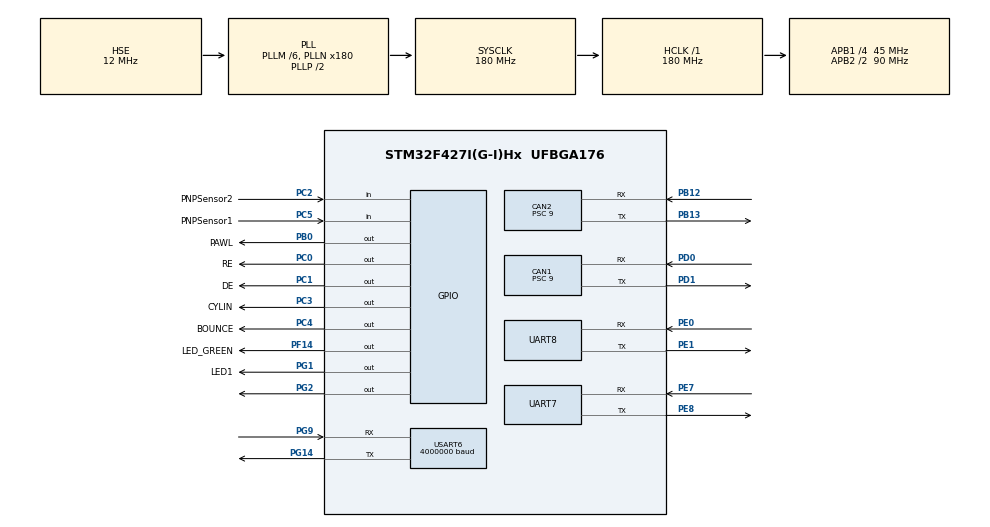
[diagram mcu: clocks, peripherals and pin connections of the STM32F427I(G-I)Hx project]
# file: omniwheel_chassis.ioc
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CAN1.ABOM=DISABLE
CAN1.BS1=CAN_BS1_3TQ
CAN1.BS2=CAN_BS2_1TQ
CAN1.CalculateBaudRate=1000000
CAN1.CalculateTimeBit=1000
CAN1.CalculateTimeQuantum=200.0
CAN1.Prescaler=9
CAN2.BS1=CAN_BS1_3TQ
CAN2.CalculateBaudRate=1000000
CAN2.CalculateTimeBit=1000
CAN2.CalculateTimeQuantum=200.0
CAN2.Prescaler=9
Dma.Request0=USART6_RX
Dma.USART6_RX.0.Direction=DMA_PERIPH_TO_MEMORY
Dma.USART6_RX.0.FIFOMode=DMA_FIFOMODE_DISABLE
Dma.USART6_RX.0.Instance=DMA2_Stream1
Dma.USART6_RX.0.MemDataAlignment=DMA_MDATAALIGN_BYTE
Dma.USART6_RX.0.MemInc=DMA_MINC_ENABLE
Dma.USART6_RX.0.Mode=DMA_NORMAL
Dma.USART6_RX.0.PeriphDataAlignment=DMA_PDATAALIGN_BYTE
Dma.USART6_RX.0.PeriphInc=DMA_PINC_DISABLE
Dma.USART6_RX.0.Priority=DMA_PRIORITY_HIGH
FREERTOS.Tasks01=defaultTask,8,1024,StartDefaultTask,Default,NULL,Dynamic,NULL,NULL
Mcu.Family=STM32F4
Mcu.Name=STM32F427I(G-I)Hx
Mcu.Package=UFBGA176
NVIC.CAN1_RX0_IRQn=true\:5\:0\:false\:false\:true\:true\:true\:true\:true
NVIC.CAN2_RX0_IRQn=true\:5\:0\:false\:false\:true\:true\:true\:true\:true
NVIC.CAN2_RX1_IRQn=true\:5\:0\:false\:false\:true\:true\:true\:true\:true
NVIC.DMA2_Stream1_IRQn=true\:5\:0\:false\:false\:true\:true\:false\:true\:true
NVIC.PriorityGroup=NVIC_PRIORITYGROUP_4
NVIC.TIM1_UP_TIM10_IRQn=true\:15\:0\:false\:false\:true\:false\:false\:true\:true
NVIC.TimeBase=TIM1_UP_TIM10_IRQn
NVIC.TimeBaseIP=TIM1
NVIC.UART7_IRQn=true\:5\:0\:false\:false\:true\:true\:true\:true\:true
NVIC.UART8_IRQn=true\:5\:0\:false\:false\:true\:true\:true\:true\:true
NVIC.USART6_IRQn=true\:5\:0\:false\:false\:true\:true\:true\:true\:true
PA13.Mode=Serial_Wire
PA13.Signal=SYS_JTMS-SWDIO
PA14.Mode=Serial_Wire
PA14.Signal=SYS_JTCK-SWCLK
PB0.GPIO_Label=PAWL
PB0.GPIO_PuPd=GPIO_PULLDOWN
PB0.Signal=GPIO_Output
PB12.Mode=CAN_Activate
PB12.Signal=CAN2_RX
PB13.Mode=CAN_Activate
PB13.Signal=CAN2_TX
PC0.GPIO_Label=RE
PC0.GPIO_Speed=GPIO_SPEED_FREQ_VERY_HIGH
PC0.Signal=GPIO_Output
PC1.GPIO_Label=DE
PC1.GPIO_Speed=GPIO_SPEED_FREQ_VERY_HIGH
PC1.Signal=GPIO_Output
PC2.GPIO_Label=PNPSensor2
PC2.GPIO_PuPd=GPIO_PULLDOWN
PC2.Signal=GPIO_Input
PC3.GPIO_Label=CYLIN
PC3.GPIO_PuPd=GPIO_PULLDOWN
PC3.Signal=GPIO_Output
PC4.GPIO_Label=BOUNCE
PC4.Signal=GPIO_Output
PC5.GPIO_Label=PNPSensor1
PC5.GPIO_PuPd=GPIO_PULLDOWN
PC5.Signal=GPIO_Input
PD0.Mode=CAN_Activate
PD0.Signal=CAN1_RX
PD1.Mode=CAN_Activate
PD1.Signal=CAN1_TX
PE0.Mode=Asynchronous
PE0.Signal=UART8_RX
PE1.Mode=Asynchronous
PE1.Signal=UART8_TX
PE7.Mode=Asynchronous
PE7.Signal=UART7_RX
PE8.Mode=Asynchronous
PE8.Signal=UART7_TX
PF14.GPIO_Label=LED_GREEN
PF14.GPIO_PuPd=GPIO_PULLDOWN
PF14.Signal=GPIO_Output
PG1.GPIO_Label=LED1
PG1.GPIO_PuPd=GPIO_PULLDOWN
PG1.Signal=GPIO_Output
PG14.Mode=Asynchronous
PG14.Signal=USART6_TX
PG2.GPIO_PuPd=GPIO_NOPULL
PG2.Signal=GPIO_Output
PG9.Mode=Asynchronous
PG9.Signal=USART6_RX
PH0/OSC_IN.Mode=HSE-External-Oscillator
PH0/OSC_IN.Signal=RCC_OSC_IN
PH1/OSC_OUT.Mode=HSE-External-Oscillator
PH1/OSC_OUT.Signal=RCC_OSC_OUT
ProjectManager.HeapSize=0x400
ProjectManager.StackSize=0x800
ProjectManager.TargetToolchain=Makefile
RCC.48MHZClocksFreq_Value=90000000
RCC.AHBFreq_Value=180000000
RCC.APB1CLKDivider=RCC_HCLK_DIV4
RCC.APB1Freq_Value=45000000
RCC.APB1TimFreq_Value=90000000
RCC.APB2CLKDivider=RCC_HCLK_DIV2
RCC.APB2Freq_Value=90000000
RCC.APB2TimFreq_Value=180000000
RCC.CortexFreq_Value=180000000
RCC.HCLKFreq_Value=180000000
RCC.HSE_VALUE=12000000
RCC.HSI_VALUE=16000000
RCC.LSE_VALUE=32768
RCC.PLLM=6
RCC.PLLN=180
RCC.PLLSourceVirtual=RCC_PLLSOURCE_HSE
RCC.SYSCLKFreq_VALUE=180000000
RCC.SYSCLKSource=RCC_SYSCLKSOURCE_PLLCLK
RCC.VCOOutputFreq_Value=360000000
UART7.VirtualMode=Asynchronous
UART8.VirtualMode=Asynchronous
USART6.BaudRate=4000000
USART6.VirtualMode=VM_ASYNC
VP_FREERTOS_VS_CMSIS_V2.Mode=CMSIS_V2
VP_SYS_VS_tim1.Mode=TIM1
board=custom

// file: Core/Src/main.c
/* USER CODE BEGIN Header */
/**
  ******************************************************************************
  * @file           : main.c
  * @brief          : Main program body
  ******************************************************************************
  * @attention
  *
  * Copyright (c) 2024 STMicroelectronics.
  * All rights reserved.
  *
  * This software is licensed under terms that can be found in the LICENSE file
  * in the root directory of this software component.
  * If no LICENSE file comes with this software, it is provided AS-IS.
  *
  ******************************************************************************
  */
/* USER CODE END Header */
#include "main.h"
#include "cmsis_os.h"
#include "can.h"
#include "dma.h"
#include "usart.h"
#include "gpio.h"

/* USER CODE BEGIN Includes */
#include "retarget.h"
#include "DJI.h"
#include "stdio.h"
#include "Caculate.h"
#include "ThrowHSM.h"
/* USER CODE END Includes */

/* USER CODE BEGIN PV */

// int flag=0;
/* USER CODE END PV */

void SystemClock_Config(void);
void MX_FREERTOS_Init(void);

int main(void)
{

  /* MCU Configuration--------------------------------------------------------*/

  /* Reset of all peripherals, Initializes the Flash interface and the Systick. */
  HAL_Init();

  /* Configure the system clock */
  SystemClock_Config();

  /* Initialize all configured peripherals */
  MX_GPIO_Init();
  MX_DMA_Init();
  MX_CAN1_Init();
  MX_UART7_Init();
  MX_CAN2_Init();
  MX_UART8_Init();
  MX_USART6_UART_Init();
  /* USER CODE BEGIN 2 */
  // HAL_GPIO_WritePin(BOUNCE_GPIO_Port, BOUNCE_Pin, GPIO_PIN_SET);  //拍球气缸收回
  // HAL_GPIO_WritePin(CYLIN_GPIO_Port, CYLIN_Pin, GPIO_PIN_SET);  //伸缩气缸收回
  RetargetInit(&huart8);
  hDJI[0].motorType = M2006;//自旋电机
  hDJI[1].motorType = M3508;
  hDJI[2].motorType = M2006;//支撑右电机
  hDJI[3].motorType = M2006;
  hDJI[4].motorType = M3508;
  hDJI[5].motorType = M3508;
  DJI_Init();
  throwhsm.wholestate = WHOLE_INITING;
  /* USER CODE END 2 */

  /* Init scheduler */
  osKernelInitialize();

  /* Call init function for freertos objects (in cmsis_os2.c) */
  MX_FREERTOS_Init();

  /* Start scheduler */
  osKernelStart();

  /* We should never get here as control is now taken by the scheduler */

  /* Infinite loop */
  while (1)
  {

  }
}

void SystemClock_Config(void)
{
  RCC_OscInitTypeDef RCC_OscInitStruct = {0};
  RCC_ClkInitTypeDef RCC_ClkInitStruct = {0};

  /** Configure the main internal regulator output voltage
  */
  __HAL_RCC_PWR_CLK_ENABLE();
  __HAL_PWR_VOLTAGESCALING_CONFIG(PWR_REGULATOR_VOLTAGE_SCALE1);

  /** Initializes the RCC Oscillators according to the specified parameters
  * in the RCC_OscInitTypeDef structure.
  */
  RCC_OscInitStruct.OscillatorType = RCC_OSCILLATORTYPE_HSE;
  RCC_OscInitStruct.HSEState = RCC_HSE_ON;
  RCC_OscInitStruct.PLL.PLLState = RCC_PLL_ON;
  RCC_OscInitStruct.PLL.PLLSource = RCC_PLLSOURCE_HSE;
  RCC_OscInitStruct.PLL.PLLM = 6;
  RCC_OscInitStruct.PLL.PLLN = 180;
  RCC_OscInitStruct.PLL.PLLP = RCC_PLLP_DIV2;
  RCC_OscInitStruct.PLL.PLLQ = 4;
  if (HAL_RCC_OscConfig(&RCC_OscInitStruct) != HAL_OK)
  {
    Error_Handler();
  }

  /** Activate the Over-Drive mode
  */
  if (HAL_PWREx_EnableOverDrive() != HAL_OK)
  {
    Error_Handler();
  }

  /** Initializes the CPU, AHB and APB buses clocks
  */
  RCC_ClkInitStruct.ClockType = RCC_CLOCKTYPE_HCLK|RCC_CLOCKTYPE_SYSCLK
                              |RCC_CLOCKTYPE_PCLK1|RCC_CLOCKTYPE_PCLK2;
  RCC_ClkInitStruct.SYSCLKSource = RCC_SYSCLKSOURCE_PLLCLK;
  RCC_ClkInitStruct.AHBCLKDivider = RCC_SYSCLK_DIV1;
  RCC_ClkInitStruct.APB1CLKDivider = RCC_HCLK_DIV4;
  RCC_ClkInitStruct.APB2CLKDivider = RCC_HCLK_DIV2;

  if (HAL_RCC_ClockConfig(&RCC_ClkInitStruct, FLASH_LATENCY_5) != HAL_OK)
  {
    Error_Handler();
  }
}

void HAL_TIM_PeriodElapsedCallback(TIM_HandleTypeDef *htim)
{
  if (htim->Instance == TIM1)
  {
    HAL_IncTick();
  }
}

void Error_Handler(void)
{
  __disable_irq();
  while (1)
  {
  }
}

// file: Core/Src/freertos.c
/* USER CODE BEGIN Header */
/**
 ******************************************************************************
 * File Name          : freertos.c
 * Description        : Code for freertos applications
 ******************************************************************************
 * @attention
 *
 * Copyright (c) 2024 STMicroelectronics.
 * All rights reserved.
 *
 * This software is licensed under terms that can be found in the LICENSE file
 * in the root directory of this software component.
 * If no LICENSE file comes with this software, it is provided AS-IS.
 *
 ******************************************************************************
 */
/* USER CODE END Header */

#include "FreeRTOS.h"
#include "task.h"
#include "main.h"
#include "cmsis_os.h"

/* USER CODE BEGIN Includes */
#include "allusertask.h"
#include "allusertask.h"
#include "HSM.h"
#include "rmctl.h"
#include "encoder.h"
#include "main.h"
#include "Unitree_user.h"
#include "DJI.h"
#include "Caculate.h"
/* USER CODE END Includes */

/* USER CODE BEGIN PM */
int flag0 = 0;
extern int openflag ;
extern int bounceflag ;
/* USER CODE END PM */

/* Definitions for defaultTask */
osThreadId_t defaultTaskHandle;
const osThreadAttr_t defaultTask_attributes = {
  .name = "defaultTask",
  .stack_size = 1024 * 4,
  .priority = (osPriority_t) osPriorityLow,
};

void StartDefaultTask(void *argument);

void MX_FREERTOS_Init(void); /* (MISRA C 2004 rule 8.1) */

void MX_FREERTOS_Init(void) {
  /* USER CODE BEGIN Init */
  if (CANFilterInit(&hcan1) == HAL_ERROR)
  {
    throwhsm.wholestate = WHOLE_ERROR;
    throwhsm.errorstate = ERROR_CANINITFAIL1;
  }
  if (ENCODER_CANFilterInit(&hcan2) == HAL_ERROR)
  {
    throwhsm.wholestate = WHOLE_ERROR;
    throwhsm.errorstate = ERROR_CANINITFAIL2;
  }
  HAL_CAN_Start(&hcan1); // 启动CAN外设
  HAL_CAN_ActivateNotification(&hcan1, CAN_IT_RX_FIFO0_MSG_PENDING); // 启用接收FIFO0的中断
  HAL_CAN_Start(&hcan2); // 启动CAN外设
  HAL_CAN_ActivateNotification(&hcan2, CAN_IT_RX_FIFO0_MSG_PENDING); // 启用接收FIFO0的中断
  /* USER CODE END Init */

  /* Create the thread(s) */
  /* creation of defaultTask */
  defaultTaskHandle = osThreadNew(StartDefaultTask, NULL, &defaultTask_attributes);

}

void StartDefaultTask(void *argument)
{
  /* USER CODE BEGIN StartDefaultTask */
    /* Infinite loop */
    User_FREERTOS_Init();
    for (;;) {
    osDelay(100);
    }
  /* USER CODE END StartDefaultTask */
}
